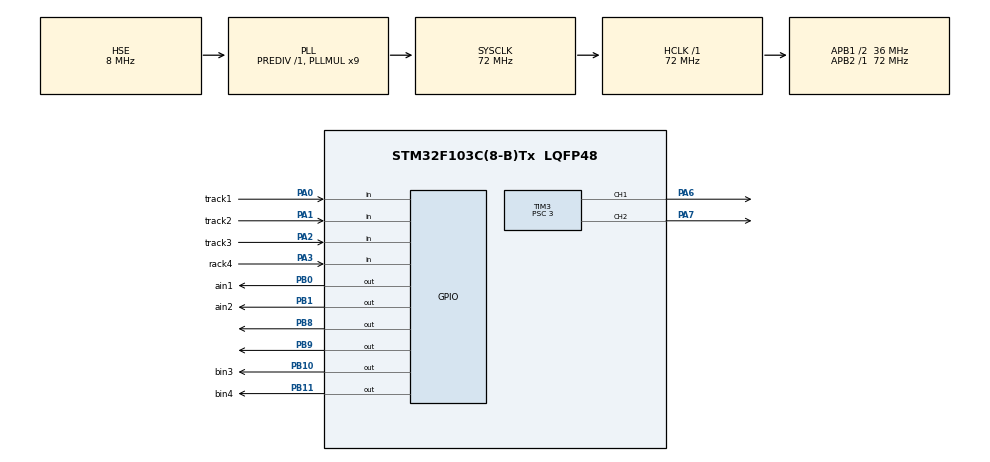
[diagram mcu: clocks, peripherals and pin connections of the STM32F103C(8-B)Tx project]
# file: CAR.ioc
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Mcu.Family=STM32F1
Mcu.Name=STM32F103C(8-B)Tx
Mcu.Package=LQFP48
NVIC.PriorityGroup=NVIC_PRIORITYGROUP_4
PA0-WKUP.GPIO_Label=track1
PA0-WKUP.GPIO_PuPd=GPIO_NOPULL
PA0-WKUP.Signal=GPIO_Input
PA1.GPIO_Label=track2
PA1.GPIO_PuPd=GPIO_NOPULL
PA1.Signal=GPIO_Input
PA13.Mode=Serial_Wire
PA13.Signal=SYS_JTMS-SWDIO
PA14.Mode=Serial_Wire
PA14.Signal=SYS_JTCK-SWCLK
PA2.GPIO_Label=track3
PA2.GPIO_PuPd=GPIO_NOPULL
PA2.Signal=GPIO_Input
PA3.GPIO_Label=rack4
PA3.GPIO_PuPd=GPIO_NOPULL
PA3.Signal=GPIO_Input
PA6.GPIO_ModeDefaultPP=GPIO_MODE_AF_PP
PA6.GPIO_Speed=GPIO_SPEED_FREQ_HIGH
PA6.Signal=S_TIM3_CH1
PA7.GPIO_Speed=GPIO_SPEED_FREQ_HIGH
PA7.Signal=S_TIM3_CH2
PB0.GPIO_Label=ain1
PB0.GPIO_ModeDefaultOutputPP=GPIO_MODE_OUTPUT_PP
PB0.GPIO_PuPd=GPIO_NOPULL
PB0.GPIO_Speed=GPIO_SPEED_FREQ_HIGH
PB0.PinState=GPIO_PIN_RESET
PB0.Signal=GPIO_Output
PB1.GPIO_Label=ain2
PB1.GPIO_ModeDefaultOutputPP=GPIO_MODE_OUTPUT_PP
PB1.GPIO_PuPd=GPIO_NOPULL
PB1.GPIO_Speed=GPIO_SPEED_FREQ_HIGH
PB1.PinState=GPIO_PIN_RESET
PB1.Signal=GPIO_Output
PB10.GPIO_Label=bin3
PB10.GPIO_ModeDefaultOutputPP=GPIO_MODE_OUTPUT_PP
PB10.GPIO_PuPd=GPIO_NOPULL
PB10.GPIO_Speed=GPIO_SPEED_FREQ_HIGH
PB10.PinState=GPIO_PIN_RESET
PB10.Signal=GPIO_Output
PB11.GPIO_Label=bin4
PB11.GPIO_ModeDefaultOutputPP=GPIO_MODE_OUTPUT_PP
PB11.GPIO_PuPd=GPIO_NOPULL
PB11.GPIO_Speed=GPIO_SPEED_FREQ_HIGH
PB11.PinState=GPIO_PIN_RESET
PB11.Signal=GPIO_Output
PB8.GPIO_PuPd=GPIO_PULLUP
PB8.GPIO_Speed=GPIO_SPEED_FREQ_HIGH
PB8.Signal=GPIO_Output
PB9.GPIO_PuPd=GPIO_PULLUP
PB9.GPIO_Speed=GPIO_SPEED_FREQ_HIGH
PB9.Signal=GPIO_Output
PD0-OSC_IN.Mode=HSE-External-Oscillator
PD0-OSC_IN.Signal=RCC_OSC_IN
PD1-OSC_OUT.Mode=HSE-External-Oscillator
PD1-OSC_OUT.Signal=RCC_OSC_OUT
ProjectManager.HeapSize=0x200
ProjectManager.StackSize=0x400
ProjectManager.TargetToolchain=MDK-ARM V5.32
RCC.AHBFreq_Value=72000000
RCC.APB1CLKDivider=RCC_HCLK_DIV2
RCC.APB1Freq_Value=36000000
RCC.APB1TimFreq_Value=72000000
RCC.APB2Freq_Value=72000000
RCC.APB2TimFreq_Value=72000000
RCC.HCLKFreq_Value=72000000
RCC.PLLMUL=RCC_PLL_MUL9
RCC.PLLSourceVirtual=RCC_PLLSOURCE_HSE
RCC.SYSCLKFreq_VALUE=72000000
RCC.SYSCLKSource=RCC_SYSCLKSOURCE_PLLCLK
RCC.USBFreq_Value=72000000
SH.S_TIM3_CH1.0=TIM3_CH1,PWM Generation1 CH1
SH.S_TIM3_CH2.0=TIM3_CH2,PWM Generation2 CH2
TIM3.Channel-PWM\ Generation1\ CH1=TIM_CHANNEL_1
TIM3.Channel-PWM\ Generation2\ CH2=TIM_CHANNEL_2
TIM3.Period=999
TIM3.Prescaler=3
VP_TIM3_VS_ClockSourceINT.Mode=Internal
board=custom

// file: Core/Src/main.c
/* USER CODE BEGIN Header */
/**
  ******************************************************************************
  * @file           : main.c
  * @brief          : Main program body
  ******************************************************************************
  * @attention
  *
  * Copyright (c) 2026 STMicroelectronics.
  * All rights reserved.
  *
  * This software is licensed under terms that can be found in the LICENSE file
  * in the root directory of this software component.
  * If no LICENSE file comes with this software, it is provided AS-IS.
  *
  ******************************************************************************
  */
/* USER CODE END Header */
#include "main.h"
#include "tim.h"
#include "gpio.h"

/* USER CODE BEGIN Includes */
#include "motor.h"
#include "OLED.h"
#include "track.h"

/* USER CODE END Includes */

void SystemClock_Config(void);

int main(void)
{

  /* MCU Configuration--------------------------------------------------------*/

  /* Reset of all peripherals, Initializes the Flash interface and the Systick. */
  HAL_Init();

  /* Configure the system clock */
  SystemClock_Config();

  /* Initialize all configured peripherals */
  MX_GPIO_Init();
  MX_TIM3_Init();
  /* USER CODE BEGIN 2 */
  motor_init();
  OLED_Init();

  OLED_Clear();

	float Kp = 10.0f;      // 比例系数（主力纠偏）
	float Ki = 0.15f;      // 积分系数（修正物理不对称，微调角色）
	float Kd = 8.0f;       // 微分系数（抑制震荡）
	float sum_error = 0.0f;    // 积分累加
	float last_error = 0.0f;   // 上一次的偏差
  /* USER CODE END 2 */

  /* Infinite loop */
  while (1)
  {

    /* USER CODE BEGIN 3 */

    // 1. 读取传感器（带去抖滤波）
    uint8_t l1 = Track_L1();
    uint8_t l2 = Track_L2();
    uint8_t r2 = Track_R2();
    uint8_t r1 = Track_R1();

    // 2. 计算偏差error
    float error = 0.0f;
    if(l1 == 1) error += -3.0f;
    if(l2 == 1) error += -1.0f;
    if(r2 == 1) error += +1.0f;
    if(r1 == 1) error += +3.0f;

    // 3. �?测是否丢线（全白）并做渐进式搜索
    static uint16_t loss_count = 0;  // 丢线持续次数（每5ms+1�?
    uint8_t line_lost = 0;
    if(l1==0 && l2==0 && r2==0 && r1==0)
    {
      line_lost = 1;
      loss_count++;  // 丢得越久，计数越�?

      // 确定搜索方向：线�?后在哪边就往哪边�?
      float search_dir;
      if(last_error > 0)      search_dir = 1.0f;   // 线在右边，往右找
      else if(last_error < 0) search_dir = -1.0f;  // 线在左边，往左找
      else                    search_dir = 1.0f;   // 兜底：不知道就右�?

      // 丢线越久转越猛：起步3，每�?5ms�?0.5，上�?8
      float search_power = 3.0f + (float)loss_count * 0.5f;
      if(search_power > 8.0f) search_power = 8.0f;

      error = search_dir * search_power;
    }
    else
    {
      loss_count = 0;  // 找到线了，重置丢线计�?
    }

    // 4. PID计算（丢线时冻结积分，防止饱和）
    if(!line_lost)
    {
      sum_error += error;  // 正常巡线才累加积�?
    }
    // 积分限幅
    if(sum_error > 3) sum_error = 3;
    if(sum_error < -3) sum_error = -3;

    float diff_error = error - last_error;
    float output = Kp*error + Ki*sum_error + Kd*diff_error;

    // 输出限幅
    if(output > 400) output = 400;
    if(output < -400) output = -400;

    // 5. 弯道自�?�应降�?�：偏差越大 = 弯越�? = 速度越低
    float abs_error = (error > 0) ? error : -error;  // 取绝对�??
    int base_speed;
    if(abs_error > 3.0f) {
        base_speed = 250;   // 急弯/丢线搜索：慢速过
    } else if(abs_error > 1.5f) {
        base_speed = 350;   // 缓弯：中�?
    } else {
        base_speed = 450;   // 直线：全�?
    }

    // 6. 控制电机
    int left_speed = base_speed - output;
    int right_speed = base_speed + output;

    // 防止速度溢出
    if(left_speed < 0) left_speed = 0;
    if(right_speed < 0) right_speed = 0;
    if(left_speed > 999) left_speed = 999;
    if(right_speed > 999) right_speed = 999;

    motor_setspeed(left_speed, right_speed);

    // 7. 保存上一次的偏差
    last_error = error;

    // 8. OLED显示调试信息（每200ms刷新�?次）
    static uint32_t oled_timer = 0;
    if(HAL_GetTick() - oled_timer > 500)
    {
      oled_timer = HAL_GetTick();

      OLED_ShowNum(2,0,error*10,2);     // 偏差×10
      OLED_ShowNum(4,0,base_speed,4);   // 当前基础速度
    }

    // 9. 固定控制周期 5ms�?200Hz），保证PID积分/微分按时间计�?
    HAL_Delay(5);
  }

  /* USER CODE END 3 */
}

void SystemClock_Config(void)
{
  RCC_OscInitTypeDef RCC_OscInitStruct = {0};
  RCC_ClkInitTypeDef RCC_ClkInitStruct = {0};

  /** Initializes the RCC Oscillators according to the specified parameters
  * in the RCC_OscInitTypeDef structure.
  */
  RCC_OscInitStruct.OscillatorType = RCC_OSCILLATORTYPE_HSE;
  RCC_OscInitStruct.HSEState = RCC_HSE_ON;
  RCC_OscInitStruct.HSEPredivValue = RCC_HSE_PREDIV_DIV1;
  RCC_OscInitStruct.HSIState = RCC_HSI_ON;
  RCC_OscInitStruct.PLL.PLLState = RCC_PLL_ON;
  RCC_OscInitStruct.PLL.PLLSource = RCC_PLLSOURCE_HSE;
  RCC_OscInitStruct.PLL.PLLMUL = RCC_PLL_MUL9;
  if (HAL_RCC_OscConfig(&RCC_OscInitStruct) != HAL_OK)
  {
    Error_Handler();
  }

  /** Initializes the CPU, AHB and APB buses clocks
  */
  RCC_ClkInitStruct.ClockType = RCC_CLOCKTYPE_HCLK|RCC_CLOCKTYPE_SYSCLK
                              |RCC_CLOCKTYPE_PCLK1|RCC_CLOCKTYPE_PCLK2;
  RCC_ClkInitStruct.SYSCLKSource = RCC_SYSCLKSOURCE_PLLCLK;
  RCC_ClkInitStruct.AHBCLKDivider = RCC_SYSCLK_DIV1;
  RCC_ClkInitStruct.APB1CLKDivider = RCC_HCLK_DIV2;
  RCC_ClkInitStruct.APB2CLKDivider = RCC_HCLK_DIV1;

  if (HAL_RCC_ClockConfig(&RCC_ClkInitStruct, FLASH_LATENCY_2) != HAL_OK)
  {
    Error_Handler();
  }
}

void Error_Handler(void)
{
  __disable_irq();
  while (1)
  {
  }
}
